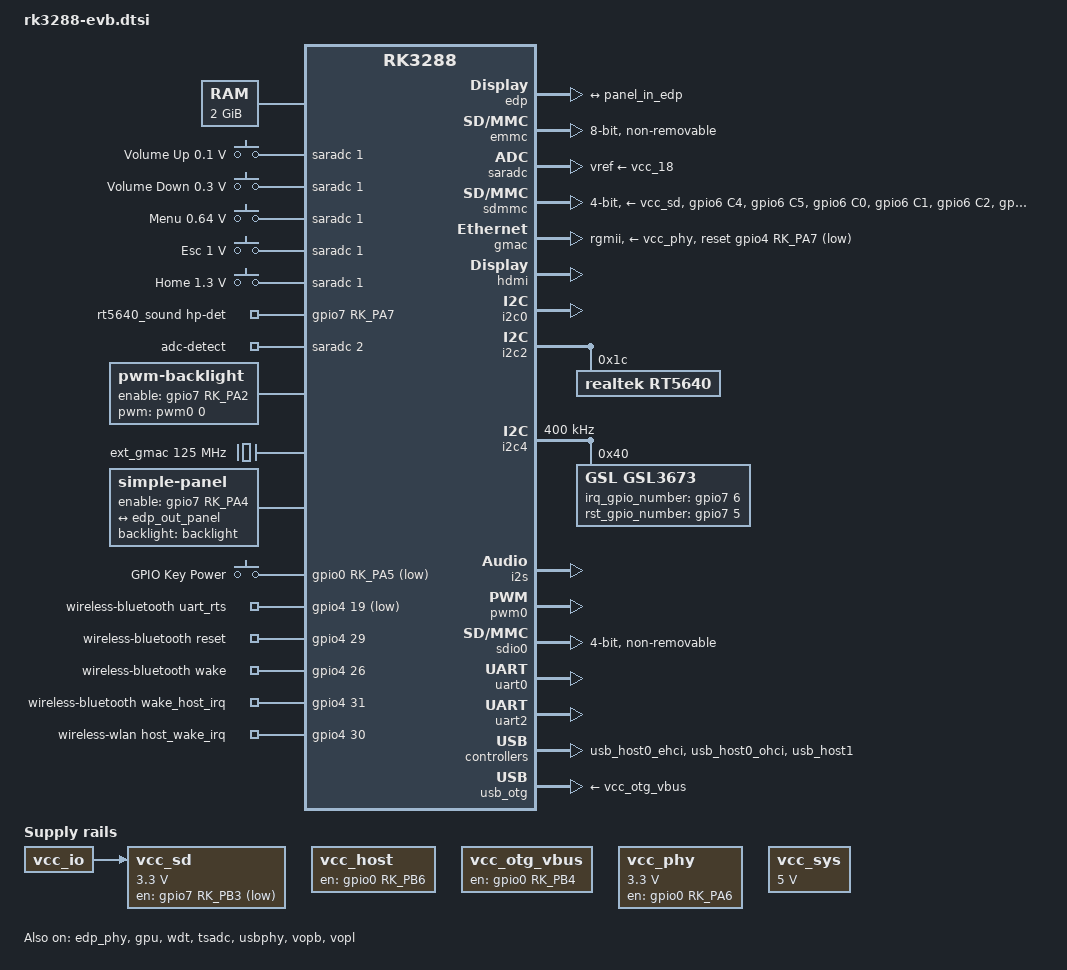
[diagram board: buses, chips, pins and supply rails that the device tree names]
// SPDX-License-Identifier: (GPL-2.0+ OR MIT)

#include <dt-bindings/input/input.h>
#include <dt-bindings/pwm/pwm.h>
#include "rk3288.dtsi"

/ {
	memory@0 {
		device_type = "memory";
		reg = <0x0 0x0 0x0 0x80000000>;
	};

	adc-keys {
		compatible = "adc-keys";
		io-channels = <&saradc 1>;
		io-channel-names = "buttons";
		keyup-threshold-microvolt = <1800000>;

		button-up {
			label = "Volume Up";
			linux,code = <KEY_VOLUMEUP>;
			press-threshold-microvolt = <100000>;
		};

		button-down {
			label = "Volume Down";
			linux,code = <KEY_VOLUMEDOWN>;
			press-threshold-microvolt = <300000>;
		};

		menu {
			label = "Menu";
			linux,code = <KEY_MENU>;
			press-threshold-microvolt = <640000>;
		};

		esc {
			label = "Esc";
			linux,code = <KEY_ESC>;
			press-threshold-microvolt = <1000000>;
		};

		home  {
			label = "Home";
			linux,code = <KEY_HOME>;
			press-threshold-microvolt = <1300000>;
		};
	};

	rt5640_sound: rt5640-sound {
		status = "okay";
		compatible = "rockchip,multicodecs-card";
		rockchip,card-name = "rockchip-rt5640";
		hp-det-gpio = <&gpio7 RK_PA7 GPIO_ACTIVE_HIGH>;
		io-channels = <&saradc 2>;
		io-channel-names = "adc-detect";
		keyup-threshold-microvolt = <1800000>;
		poll-interval = <100>;
		rockchip,format = "i2s";
		rockchip,mclk-fs = <512>;
		rockchip,cpu = <&i2s>;
		rockchip,codec = <&rt5640>;
		rockchip,audio-routing =
			"Headphone", "HPOL",
			"Headphone", "HPOR",
			"Speaker", "SPOLP",
			"Speaker", "SPOLN",
			"Speaker", "SPORP",
			"Speaker", "SPORN",
			"Headphone", "Headphone Power",
			"Headphone", "Headphone Power",
			"Speaker", "Speaker Power",
			"Speaker", "Speaker Power",
			"DMIC L1", "Main Mic",
			"DMIC R1", "Main Mic",
			"IN3P", "Headset Mic",
			"Headset Mic", "MICBIAS1";
		play-pause-key {
			label = "playpause";
			linux,code = <KEY_PLAYPAUSE>;
			press-threshold-microvolt = <2000>;
		};
	};

	hdmi_sound: hdmi-sound {
		status = "disabled";
		compatible = "rockchip,hdmi";
		rockchip,mclk-fs = <256>;
		rockchip,card-name = "rockchip-hdmi0";
		rockchip,cpu = <&i2s>;
		rockchip,codec = <&hdmi>;
		rockchip,jack-det;
	};

	backlight: backlight {
		compatible = "pwm-backlight";
		brightness-levels = <
			  0   1   2   3   4   5   6   7
			  8   9  10  11  12  13  14  15
			 16  17  18  19  20  21  22  23
			 24  25  26  27  28  29  30  31
			 32  33  34  35  36  37  38  39
			 40  41  42  43  44  45  46  47
			 48  49  50  51  52  53  54  55
			 56  57  58  59  60  61  62  63
			 64  65  66  67  68  69  70  71
			 72  73  74  75  76  77  78  79
			 80  81  82  83  84  85  86  87
			 88  89  90  91  92  93  94  95
			 96  97  98  99 100 101 102 103
			104 105 106 107 108 109 110 111
			112 113 114 115 116 117 118 119
			120 121 122 123 124 125 126 127
			128 129 130 131 132 133 134 135
			136 137 138 139 140 141 142 143
			144 145 146 147 148 149 150 151
			152 153 154 155 156 157 158 159
			160 161 162 163 164 165 166 167
			168 169 170 171 172 173 174 175
			176 177 178 179 180 181 182 183
			184 185 186 187 188 189 190 191
			192 193 194 195 196 197 198 199
			200 201 202 203 204 205 206 207
			208 209 210 211 212 213 214 215
			216 217 218 219 220 221 222 223
			224 225 226 227 228 229 230 231
			232 233 234 235 236 237 238 239
			240 241 242 243 244 245 246 247
			248 249 250 251 252 253 254 255>;
		default-brightness-level = <128>;
		enable-gpios = <&gpio7 RK_PA2 GPIO_ACTIVE_HIGH>;
		pinctrl-names = "default";
		pinctrl-0 = <&bl_en>;
		pwms = <&pwm0 0 1000000 PWM_POLARITY_INVERTED>;
	};

	ext_gmac: external-gmac-clock {
		compatible = "fixed-clock";
		clock-frequency = <125000000>;
		clock-output-names = "ext_gmac";
		#clock-cells = <0>;
	};

	panel: panel {
		compatible = "simple-panel";
		backlight = <&backlight>;
		enable-gpios = <&gpio7 RK_PA4 GPIO_ACTIVE_HIGH>;
		pinctrl-names = "default";
		pinctrl-0 = <&lcd_cs>;
		prepare-delay-ms = <120>;

		panel-timing {
			clock-frequency = <200000000>;
			hactive = <1536>;
			hfront-porch = <12>;
			hback-porch = <48>;
			hsync-len = <16>;
			vactive = <2048>;
			vfront-porch = <8>;
			vback-porch = <8>;
			vsync-len = <4>;
			hsync-active = <0>;
			vsync-active = <0>;
			de-active = <0>;
			pixelclk-active = <0>;
		};

		ports {
			panel_in: port {
				panel_in_edp: endpoint {
					remote-endpoint = <&edp_out_panel>;
				};
			};
		};
	};

	gpio-keys {
		compatible = "gpio-keys";
		autorepeat;

		pinctrl-names = "default";
		pinctrl-0 = <&pwrbtn>;

		power {
			gpios = <&gpio0 RK_PA5 GPIO_ACTIVE_LOW>;
			linux,code = <KEY_POWER>;
			label = "GPIO Key Power";
			linux,input-type = <1>;
			wakeup-source;
			debounce-interval = <100>;
		};
	};

	/* This turns on USB vbus for both host0 (ehci) and host1 (dwc2) */
	vcc_host: vcc-host-regulator {
		compatible = "regulator-fixed";
		enable-active-high;
		gpio = <&gpio0 RK_PB6 GPIO_ACTIVE_HIGH>;
		pinctrl-names = "default";
		pinctrl-0 = <&host_vbus_drv>;
		regulator-name = "vcc_host";
		regulator-always-on;
		regulator-boot-on;
	};

	vcc_otg_vbus: otg-vbus-regulator {
		compatible = "regulator-fixed";
		enable-active-high;
		gpio = <&gpio0 RK_PB4 GPIO_ACTIVE_HIGH>;
		pinctrl-names = "default";
		pinctrl-0 = <&otg_vbus_drv>;
		regulator-name = "vcc_otg_vbus";
	};

	vcc_phy: vcc-phy-regulator {
		compatible = "regulator-fixed";
		enable-active-high;
		gpio = <&gpio0 RK_PA6 GPIO_ACTIVE_HIGH>;
		pinctrl-names = "default";
		pinctrl-0 = <&eth_phy_pwr>;
		regulator-name = "vcc_phy";
		regulator-min-microvolt = <3300000>;
		regulator-max-microvolt = <3300000>;
		regulator-always-on;
		regulator-boot-on;
	};

	vcc_sys: vsys-regulator {
		compatible = "regulator-fixed";
		regulator-name = "vcc_sys";
		regulator-min-microvolt = <5000000>;
		regulator-max-microvolt = <5000000>;
		regulator-always-on;
		regulator-boot-on;
	};

	/*
	 * NOTE: vcc_sd isn't hooked up on v1.0 boards where power comes from
	 * vcc_io directly.  Those boards won't be able to power cycle SD cards
	 * but it shouldn't hurt to toggle this pin there anyway.
	 */
	vcc_sd: sdmmc-regulator {
		compatible = "regulator-fixed";
		gpio = <&gpio7 RK_PB3 GPIO_ACTIVE_LOW>;
		pinctrl-names = "default";
		pinctrl-0 = <&sdmmc_pwr>;
		regulator-name = "vcc_sd";
		regulator-min-microvolt = <3300000>;
		regulator-max-microvolt = <3300000>;
		startup-delay-us = <100000>;
		vin-supply = <&vcc_io>;
	};

	wireless-bluetooth {
		compatible = "bluetooth-platdata";
		uart_rts_gpios = <&gpio4 19 GPIO_ACTIVE_LOW>;
		pinctrl-names = "default", "rts_gpio";
		pinctrl-0 = <&uart0_rts>;
		pinctrl-1 = <&uart0_gpios>;
		BT,reset_gpio    = <&gpio4 29 GPIO_ACTIVE_HIGH>;
		BT,wake_gpio     = <&gpio4 26 GPIO_ACTIVE_HIGH>;
		BT,wake_host_irq = <&gpio4 31 GPIO_ACTIVE_HIGH>;
		status = "okay";
	};

	wireless-wlan {
		compatible = "wlan-platdata";
		rockchip,grf = <&grf>;
		wifi_chip_type = "ap6335";
		sdio_vref = <1800>;
		WIFI,host_wake_irq = <&gpio4 30 GPIO_ACTIVE_HIGH>;
		status = "okay";
	};
};

&cpu0 {
	cpu0-supply = <&vdd_cpu>;
};

&edp {
	force-hpd;
	status = "okay";

	ports {
		edp_out: port@1 {
			reg = <1>;
			#address-cells = <1>;
			#size-cells = <0>;

			edp_out_panel: endpoint@0 {
				reg = <0>;
				remote-endpoint = <&panel_in_edp>;
			};
		};
	};
};

&edp_phy {
	status = "okay";
};

&emmc {
	bus-width = <8>;
	cap-mmc-highspeed;
	no-sdio;
	no-sd;
	disable-wp;
	non-removable;
	pinctrl-names = "default";
	pinctrl-0 = <&emmc_clk &emmc_cmd &emmc_pwr &emmc_bus8>;
	status = "okay";
};

&saradc {
	vref-supply = <&vcc_18>;
	status = "okay";
};

&sdmmc {
	bus-width = <4>;
	cap-mmc-highspeed;
	sd-uhs-sdr12;
	sd-uhs-sdr25;
	sd-uhs-sdr50;
	sd-uhs-sdr104;
	cap-sd-highspeed;
	no-mmc;
	no-sdio;
	card-detect-delay = <200>;
	disable-wp;			/* wp not hooked up */
	pinctrl-names = "default";
	pinctrl-0 = <&sdmmc_clk &sdmmc_cmd &sdmmc_cd &sdmmc_bus4>;
	status = "okay";
	vmmc-supply = <&vcc_sd>;
	vqmmc-supply = <&vccio_sd>;
};

&gmac {
	phy-supply = <&vcc_phy>;
	phy-mode = "rgmii";
	clock_in_out = "output";
	assigned-clocks = <&cru SCLK_MAC>;
	assigned-clock-parents = <&cru PLL_NPLL>;
	assigned-clock-rates = <125000000>;
	snps,reset-gpio = <&gpio4 RK_PA7 GPIO_ACTIVE_HIGH>;
	snps,reset-active-low;
	snps,reset-delays-us = <0 10000 1000000>;
	pinctrl-names = "default";
	pinctrl-0 = <&rgmii_pins>;
	tx_delay = <0x30>;
	rx_delay = <0x10>;
	status = "okay";
};

&gpu {
	mali-supply = <&vdd_gpu>;
	status = "okay";
};

&hdmi {
	status = "okay";
};

&i2c0 {
	status = "okay";
};

&i2c2 {
	status = "okay";

	rt5640: rt5640@1c {
		#sound-dai-cells = <0>;
		compatible = "realtek,rt5640";
		reg = <0x1c>;
		clocks = <&cru SCLK_I2S0_OUT>;
		clock-names = "mclk";
		pinctrl-names = "default";
		pinctrl-0 = <&i2s0_mclk>;
	};
};

&i2c4 {
	status = "okay";
	clock-frequency = <400000>;

	gsl3673@40 {
		compatible = "GSL,GSL3673";
		reg = <0x40>;
		screen_max_x = <1536>;
		screen_max_y = <2048>;
		irq_gpio_number = <&gpio7 6 IRQ_TYPE_LEVEL_LOW>;
		rst_gpio_number = <&gpio7 5 GPIO_ACTIVE_HIGH>;
		status = "okay";
	};
};

&i2s {
	#sound-dai-cells = <0>;
	status = "okay";
};

&wdt {
	status = "okay";
};

&pwm0 {
	status = "okay";
};

&sdio0 {
	status = "okay";
	max-frequency = <150000000>;
	bus-width = <4>;
	cap-sd-highspeed;
	no-mmc;
	no-sd;
	cap-sdio-irq;
	mmc-pwrseq = <&sdio_pwrseq>;
	keep-power-in-suspend;
	non-removable;
	pinctrl-names = "default";
	pinctrl-0 = <&sdio0_bus4 &sdio0_cmd &sdio0_clk &sdio0_int>;
	sd-uhs-sdr104;
};

&uart0 {
	pinctrl-names = "default";
	pinctrl-0 = <&uart0_xfer &uart0_cts>;
	status = "okay";
};

&uart2 {
	status = "okay";
};

&tsadc {
	rockchip,hw-tshut-mode = <0>; /* tshut mode 0:CRU 1:GPIO */
	rockchip,hw-tshut-polarity = <0>; /* tshut polarity 0:LOW 1:HIGH */
	status = "okay";
};

&pinctrl {
	pcfg_pull_none_drv_8ma: pcfg-pull-none-drv-8ma {
		drive-strength = <8>;
	};

	pcfg_pull_up_drv_8ma: pcfg-pull-up-drv-8ma {
		bias-pull-up;
		drive-strength = <8>;
	};

	backlight {
		bl_en: bl-en {
			rockchip,pins = <7 RK_PA2 RK_FUNC_GPIO &pcfg_pull_none>;
		};
	};

	buttons {
		pwrbtn: pwrbtn {
			rockchip,pins = <0 RK_PA5 RK_FUNC_GPIO &pcfg_pull_up>;
		};
	};

	lcd {
		lcd_cs: lcd-cs {
			rockchip,pins = <7 RK_PA4 RK_FUNC_GPIO &pcfg_pull_none>;
		};
	};

	pmic {
		pmic_int: pmic-int {
			rockchip,pins = <0 RK_PA4 RK_FUNC_GPIO &pcfg_pull_up>;
		};
	};

	sdio-pwrseq {
		wifi_enable_h: wifi-enable-h {
			rockchip,pins = <4 RK_PD4 RK_FUNC_GPIO &pcfg_pull_none>;
		};
	};

	sdmmc {
		/*
		 * Default drive strength isn't enough to achieve even
		 * high-speed mode on EVB board so bump up to 8ma.
		 */
		sdmmc_bus4: sdmmc-bus4 {
			rockchip,pins = <6 RK_PC0 1 &pcfg_pull_up_drv_8ma>,
					<6 RK_PC1 1 &pcfg_pull_up_drv_8ma>,
					<6 RK_PC2 1 &pcfg_pull_up_drv_8ma>,
					<6 RK_PC3 1 &pcfg_pull_up_drv_8ma>;
		};

		sdmmc_clk: sdmmc-clk {
			rockchip,pins = <6 RK_PC4 1 &pcfg_pull_none_drv_8ma>;
		};

		sdmmc_cmd: sdmmc-cmd {
			rockchip,pins = <6 RK_PC5 1 &pcfg_pull_up_drv_8ma>;
		};

		sdmmc_pwr: sdmmc-pwr {
			rockchip,pins = <7 RK_PB3 RK_FUNC_GPIO &pcfg_pull_none>;
		};
	};

	usb {
		host_vbus_drv: host-vbus-drv {
			rockchip,pins = <0 RK_PB6 RK_FUNC_GPIO &pcfg_pull_none>;
		};

		otg_vbus_drv: otg-bus-drv {
			rockchip,pins = <0 RK_PB4 RK_FUNC_GPIO &pcfg_pull_none>;
		};
	};

	eth_phy {
		eth_phy_pwr: eth-phy-pwr {
			rockchip,pins = <0 RK_PA6 RK_FUNC_GPIO &pcfg_pull_none>;
		};
	};

	wireless-bluetooth {
		uart0_gpios: uart0-gpios {
			rockchip,pins = <4 RK_PC3 RK_FUNC_GPIO &pcfg_pull_none>;
		};
	};
};

&usbphy {
	status = "okay";
};

&usb_host0_ehci {
	rockchip-relinquish-port;
	status = "okay";
};

&usb_host0_ohci {
	status = "okay";
};

&usb_host1 {
	status = "okay";
};

&usb_otg {
	vbus-supply = <&vcc_otg_vbus>;
	status = "okay";
};

&vopb {
	status = "okay";
};

&vopb_mmu {
	status = "okay";
};

&vopl {
	status = "okay";
};

&vopl_mmu {
	status = "okay";
};
